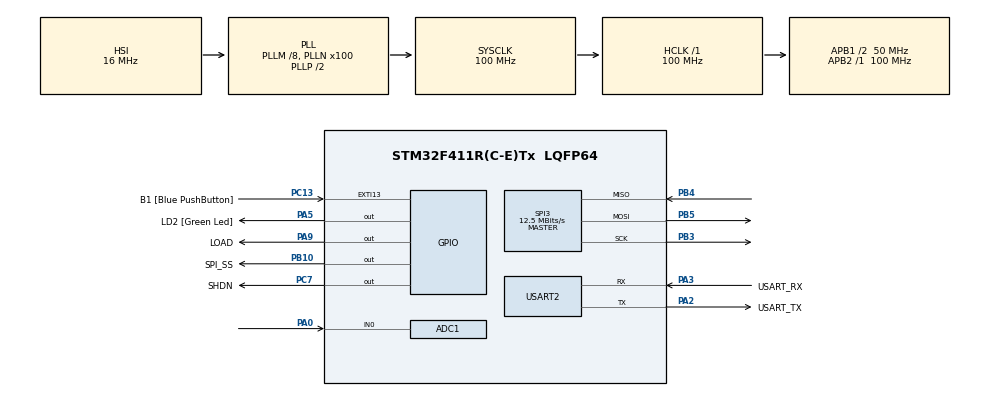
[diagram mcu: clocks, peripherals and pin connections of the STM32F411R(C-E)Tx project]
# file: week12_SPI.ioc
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Mcu.Family=STM32F4
PB10.PinState=GPIO_PIN_SET
RCC.CortexFreq_Value=100000000
SPI3.Direction=SPI_DIRECTION_2LINES
SPI3.VirtualType=VM_MASTER
PA14.GPIO_Label=TCK
RCC.SYSCLKSource=RCC_SYSCLKSOURCE_PLLCLK
ProjectManager.StackSize=0x400
NVIC.ADC_IRQn=true\:0\:0\:false\:false\:true\:true\:true
PH0\ -\ OSC_IN.Signal=RCC_OSC_IN
RCC.HCLKFreq_Value=100000000
RCC.APB2TimFreq_Value=100000000
TIM3.Period=100
Dma.ADC1.0.Direction=DMA_PERIPH_TO_MEMORY
PC7.Signal=GPIO_Output
NVIC.DMA2_Stream0_IRQn=true\:0\:0\:false\:false\:true\:false\:true
Dma.ADC1.0.MemDataAlignment=DMA_MDATAALIGN_HALFWORD
RCC.AHBFreq_Value=100000000
SPI3.DataSize=SPI_DATASIZE_16BIT
ADC1.Channel-0\#ChannelRegularConversion=ADC_CHANNEL_0
NVIC.TIM1_TRG_COM_TIM11_IRQn=true\:0\:0\:false\:false\:true\:true\:true
RCC.HSE_VALUE=8000000
PB3.Mode=Full_Duplex_Master
ADC1.ScanConvMode=ENABLE
PC13-ANTI_TAMP.Signal=GPXTI13
PB4.Mode=Full_Duplex_Master
PC14-OSC32_IN.Mode=LSE-External-Oscillator
PA14.Mode=Serial_Wire
TIM3.Prescaler=99
Dma.ADC1.0.PeriphInc=DMA_PINC_DISABLE
PB5.Mode=Full_Duplex_Master
PC7.PinState=GPIO_PIN_SET
SH.ADCx_IN0.0=ADC1_IN0,IN0
ADC1.SamplingTime-0\#ChannelRegularConversion=ADC_SAMPLETIME_28CYCLES
RCC.FLatency-AdvancedSettings=FLASH_LATENCY_3
Mcu.Package=LQFP64
SPI3.Mode=SPI_MODE_MASTER
USART2.VirtualMode=VM_ASYNC
PA2.GPIO_Label=USART_TX
NVIC.SPI3_IRQn=true\:0\:0\:false\:false\:true\:true\:true
RCC.APB1TimFreq_Value=100000000
Dma.ADC1.0.FIFOMode=DMA_FIFOMODE_DISABLE
Dma.Request0=ADC1
ADC1.EOCSelection=ADC_EOC_SEQ_CONV
VP_TIM3_VS_ClockSourceINT.Mode=Internal
PB4.Signal=SPI3_MISO
PA3.Signal=USART2_RX
PC15-OSC32_OUT.Mode=LSE-External-Oscillator
Dma.ADC1.0.Instance=DMA2_Stream0
ADC1.Rank-0\#ChannelRegularConversion=1
PC13-ANTI_TAMP.GPIO_Label=B1 [Blue PushButton]
PA9.GPIO_Label=LOAD
PH1\ -\ OSC_OUT.Mode=HSE-External-Clock-Source
TIM11.Prescaler=99
RCC.APB1CLKDivider=RCC_HCLK_DIV2
PC14-OSC32_IN.Signal=RCC_OSC32_IN
NVIC.USART2_IRQn=true\:0\:0\:false\:false\:true\:true\:true
PA0-WKUP.Signal=ADCx_IN0
VP_TIM11_VS_ClockSourceINT.Mode=Enable_Timer
PA13.Signal=SYS_JTMS-SWDIO
PA3.Mode=Asynchronous
Dma.ADC1.0.PeriphDataAlignment=DMA_PDATAALIGN_HALFWORD
PH0\ -\ OSC_IN.Mode=HSE-External-Clock-Source
ProjectManager.TargetToolchain=STM32CubeIDE
PB10.GPIO_Label=SPI_SS
Dma.ADC1.0.Mode=DMA_CIRCULAR
Dma.ADC1.0.Priority=DMA_PRIORITY_LOW
PA9.Signal=GPIO_Output
PA9.PinState=GPIO_PIN_SET
PC15-OSC32_OUT.Signal=RCC_OSC32_OUT
PB10.Signal=GPIO_Output
PA5.Signal=GPIO_Output
PH1\ -\ OSC_OUT.Signal=RCC_OSC_OUT
board=NUCLEO-F411RE
RCC.VCOOutputFreq_Value=200000000
RCC.APB2Freq_Value=100000000
SPI3.CalculateBaudRate=12.5 MBits/s
SPI3.BaudRatePrescaler=SPI_BAUDRATEPRESCALER_4
ADC1.DMAContinuousRequests=ENABLE
PA13.Mode=Serial_Wire
Mcu.Name=STM32F411R(C-E)Tx
PA2.Signal=USART2_TX
PA13.GPIO_Label=TMS
ADC1.ExternalTrigConv=ADC_EXTERNALTRIGCONV_T3_TRGO
PC7.GPIO_Label=SHDN
RCC.48MHZClocksFreq_Value=50000000
PB3.Signal=SPI3_SCK
RCC.SYSCLKFreq_VALUE=100000000
PB5.Signal=SPI3_MOSI
ADC1.master=1
PA5.GPIO_Label=LD2 [Green Led]
PC13-ANTI_TAMP.GPIO_ModeDefaultEXTI=GPIO_MODE_IT_FALLING
PA14.Signal=SYS_JTCK-SWCLK
Dma.ADC1.0.MemInc=DMA_MINC_ENABLE
ProjectManager.HeapSize=0x200
RCC.HSI_VALUE=16000000
NVIC.PriorityGroup=NVIC_PRIORITYGROUP_0
ADC1.NbrOfConversionFlag=1
RCC.PLLM=8
RCC.PLLN=100
PA2.Mode=Asynchronous
TIM3.TIM_MasterOutputTrigger=TIM_TRGO_UPDATE
RCC.APB1Freq_Value=50000000
PA3.GPIO_Label=USART_RX

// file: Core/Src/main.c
/* USER CODE BEGIN Header */
/**
 ******************************************************************************
 * @file           : main.c
 * @brief          : Main program body
 ******************************************************************************
 * @attention
 *
 * <h2><center>&copy; Copyright (c) 2021 STMicroelectronics.
 * All rights reserved.</center></h2>
 *
 * This software component is licensed by ST under BSD 3-Clause license,
 * the "License"; You may not use this file except in compliance with the
 * License. You may obtain a copy of the License at:
 *                        opensource.org/licenses/BSD-3-Clause
 *
 ******************************************************************************
 */
/* USER CODE END Header */
#include "main.h"

/* USER CODE BEGIN Includes */
#include <stdio.h>
#include <string.h>
#include "math.h"
/* USER CODE END Includes */

ADC_HandleTypeDef hadc1;
DMA_HandleTypeDef hdma_adc1;

SPI_HandleTypeDef hspi3;

TIM_HandleTypeDef htim3;
TIM_HandleTypeDef htim11;

UART_HandleTypeDef huart2;

/* USER CODE BEGIN PV */
uint16_t ADCin = 0;
uint64_t _micro = 0;
uint64_t timestamp = 0;

char TxDataBuffer[100] =
{ 0 };
char RxDataBuffer[32] =
{ 0 };

uint32_t Period = 1000000;
uint8_t Hz = 10;
uint8_t V_Max = 33;
uint8_t V_Min = 0;
int8_t Slope = 1;
uint8_t Duty_Cycle = 50;

typedef enum
{
	Mode_Menu,
	Mode_Wait,
	Saw_Menu,
	Saw_Wait,
	Sine_Menu,
	Sine_Wait,
	Square_Menu,
	Square_Wait
}Menu_State;
Menu_State State = Mode_Menu;

typedef enum
{
	None,
	Sawtooth,
	Sine,
	Square
}Gen_Mode;
Gen_Mode Mode = None;

uint16_t dataOut = 0;

uint8_t DACConfig = 0b0011;
/* USER CODE END PV */

void SystemClock_Config(void);
static void MX_GPIO_Init(void);
static void MX_DMA_Init(void);
static void MX_USART2_UART_Init(void);
static void MX_ADC1_Init(void);
static void MX_SPI3_Init(void);
static void MX_TIM3_Init(void);
static void MX_TIM11_Init(void);
/* USER CODE BEGIN PFP */
void MCP4922SetOutput(uint8_t Config, uint16_t DACOutput);
uint64_t micros();
uint16_t UARTRecieveIT();
void Menu(int16_t input);
void Function_Gen();

/* USER CODE END PFP */

int main(void)
{

  /* MCU Configuration--------------------------------------------------------*/

  /* Reset of all peripherals, Initializes the Flash interface and the Systick. */
  HAL_Init();

  /* Configure the system clock */
  SystemClock_Config();

  /* Initialize all configured peripherals */
  MX_GPIO_Init();
  MX_DMA_Init();
  MX_USART2_UART_Init();
  MX_ADC1_Init();
  MX_SPI3_Init();
  MX_TIM3_Init();
  MX_TIM11_Init();
  /* USER CODE BEGIN 2 */
	HAL_TIM_Base_Start(&htim3);
	HAL_TIM_Base_Start_IT(&htim11);
	HAL_ADC_Start_DMA(&hadc1, (uint32_t*) &ADCin, 1);

	HAL_GPIO_WritePin(LOAD_GPIO_Port, LOAD_Pin, GPIO_PIN_RESET);
  /* USER CODE END 2 */

  /* Infinite loop */
  /* USER CODE BEGIN WHILE */
	while (1)
	{
		HAL_UART_Receive_IT(&huart2,  (uint8_t*)RxDataBuffer, 32);

		int16_t inputchar = UARTRecieveIT();
		Menu(inputchar);

		if (micros() - timestamp >= Period)
		{
			timestamp = micros();
			Function_Gen();
			if (hspi3.State == HAL_SPI_STATE_READY
					&& HAL_GPIO_ReadPin(SPI_SS_GPIO_Port, SPI_SS_Pin)
							== GPIO_PIN_SET)
			{
				MCP4922SetOutput(DACConfig, dataOut);
			}
		}

    /* USER CODE END WHILE */

	}
}

void SystemClock_Config(void)
{
  RCC_OscInitTypeDef RCC_OscInitStruct = {0};
  RCC_ClkInitTypeDef RCC_ClkInitStruct = {0};

  /** Configure the main internal regulator output voltage
  */
  __HAL_RCC_PWR_CLK_ENABLE();
  __HAL_PWR_VOLTAGESCALING_CONFIG(PWR_REGULATOR_VOLTAGE_SCALE1);
  /** Initializes the RCC Oscillators according to the specified parameters
  * in the RCC_OscInitTypeDef structure.
  */
  RCC_OscInitStruct.OscillatorType = RCC_OSCILLATORTYPE_HSI;
  RCC_OscInitStruct.HSIState = RCC_HSI_ON;
  RCC_OscInitStruct.HSICalibrationValue = RCC_HSICALIBRATION_DEFAULT;
  RCC_OscInitStruct.PLL.PLLState = RCC_PLL_ON;
  RCC_OscInitStruct.PLL.PLLSource = RCC_PLLSOURCE_HSI;
  RCC_OscInitStruct.PLL.PLLM = 8;
  RCC_OscInitStruct.PLL.PLLN = 100;
  RCC_OscInitStruct.PLL.PLLP = RCC_PLLP_DIV2;
  RCC_OscInitStruct.PLL.PLLQ = 4;
  if (HAL_RCC_OscConfig(&RCC_OscInitStruct) != HAL_OK)
  {
    Error_Handler();
  }
  /** Initializes the CPU, AHB and APB buses clocks
  */
  RCC_ClkInitStruct.ClockType = RCC_CLOCKTYPE_HCLK|RCC_CLOCKTYPE_SYSCLK
                              |RCC_CLOCKTYPE_PCLK1|RCC_CLOCKTYPE_PCLK2;
  RCC_ClkInitStruct.SYSCLKSource = RCC_SYSCLKSOURCE_PLLCLK;
  RCC_ClkInitStruct.AHBCLKDivider = RCC_SYSCLK_DIV1;
  RCC_ClkInitStruct.APB1CLKDivider = RCC_HCLK_DIV2;
  RCC_ClkInitStruct.APB2CLKDivider = RCC_HCLK_DIV1;

  if (HAL_RCC_ClockConfig(&RCC_ClkInitStruct, FLASH_LATENCY_3) != HAL_OK)
  {
    Error_Handler();
  }
}

static void MX_ADC1_Init(void)
{

  ADC_ChannelConfTypeDef sConfig = {0};

  /** Configure the global features of the ADC (Clock, Resolution, Data Alignment and number of conversion)
  */
  hadc1.Instance = ADC1;
  hadc1.Init.ClockPrescaler = ADC_CLOCK_SYNC_PCLK_DIV4;
  hadc1.Init.Resolution = ADC_RESOLUTION_12B;
  hadc1.Init.ScanConvMode = ENABLE;
  hadc1.Init.ContinuousConvMode = DISABLE;
  hadc1.Init.DiscontinuousConvMode = DISABLE;
  hadc1.Init.ExternalTrigConvEdge = ADC_EXTERNALTRIGCONVEDGE_RISING;
  hadc1.Init.ExternalTrigConv = ADC_EXTERNALTRIGCONV_T3_TRGO;
  hadc1.Init.DataAlign = ADC_DATAALIGN_RIGHT;
  hadc1.Init.NbrOfConversion = 1;
  hadc1.Init.DMAContinuousRequests = ENABLE;
  hadc1.Init.EOCSelection = ADC_EOC_SEQ_CONV;
  if (HAL_ADC_Init(&hadc1) != HAL_OK)
  {
    Error_Handler();
  }
  /** Configure for the selected ADC regular channel its corresponding rank in the sequencer and its sample time.
  */
  sConfig.Channel = ADC_CHANNEL_0;
  sConfig.Rank = 1;
  sConfig.SamplingTime = ADC_SAMPLETIME_28CYCLES;
  if (HAL_ADC_ConfigChannel(&hadc1, &sConfig) != HAL_OK)
  {
    Error_Handler();
  }

}

static void MX_SPI3_Init(void)
{

  /* SPI3 parameter configuration*/
  hspi3.Instance = SPI3;
  hspi3.Init.Mode = SPI_MODE_MASTER;
  hspi3.Init.Direction = SPI_DIRECTION_2LINES;
  hspi3.Init.DataSize = SPI_DATASIZE_16BIT;
  hspi3.Init.CLKPolarity = SPI_POLARITY_LOW;
  hspi3.Init.CLKPhase = SPI_PHASE_1EDGE;
  hspi3.Init.NSS = SPI_NSS_SOFT;
  hspi3.Init.BaudRatePrescaler = SPI_BAUDRATEPRESCALER_4;
  hspi3.Init.FirstBit = SPI_FIRSTBIT_MSB;
  hspi3.Init.TIMode = SPI_TIMODE_DISABLE;
  hspi3.Init.CRCCalculation = SPI_CRCCALCULATION_DISABLE;
  hspi3.Init.CRCPolynomial = 10;
  if (HAL_SPI_Init(&hspi3) != HAL_OK)
  {
    Error_Handler();
  }

}

static void MX_TIM3_Init(void)
{

  TIM_ClockConfigTypeDef sClockSourceConfig = {0};
  TIM_MasterConfigTypeDef sMasterConfig = {0};

  htim3.Instance = TIM3;
  htim3.Init.Prescaler = 99;
  htim3.Init.CounterMode = TIM_COUNTERMODE_UP;
  htim3.Init.Period = 100;
  htim3.Init.ClockDivision = TIM_CLOCKDIVISION_DIV1;
  htim3.Init.AutoReloadPreload = TIM_AUTORELOAD_PRELOAD_DISABLE;
  if (HAL_TIM_Base_Init(&htim3) != HAL_OK)
  {
    Error_Handler();
  }
  sClockSourceConfig.ClockSource = TIM_CLOCKSOURCE_INTERNAL;
  if (HAL_TIM_ConfigClockSource(&htim3, &sClockSourceConfig) != HAL_OK)
  {
    Error_Handler();
  }
  sMasterConfig.MasterOutputTrigger = TIM_TRGO_UPDATE;
  sMasterConfig.MasterSlaveMode = TIM_MASTERSLAVEMODE_DISABLE;
  if (HAL_TIMEx_MasterConfigSynchronization(&htim3, &sMasterConfig) != HAL_OK)
  {
    Error_Handler();
  }

}

static void MX_TIM11_Init(void)
{

  htim11.Instance = TIM11;
  htim11.Init.Prescaler = 99;
  htim11.Init.CounterMode = TIM_COUNTERMODE_UP;
  htim11.Init.Period = 65535;
  htim11.Init.ClockDivision = TIM_CLOCKDIVISION_DIV1;
  htim11.Init.AutoReloadPreload = TIM_AUTORELOAD_PRELOAD_DISABLE;
  if (HAL_TIM_Base_Init(&htim11) != HAL_OK)
  {
    Error_Handler();
  }

}

static void MX_USART2_UART_Init(void)
{

  huart2.Instance = USART2;
  huart2.Init.BaudRate = 115200;
  huart2.Init.WordLength = UART_WORDLENGTH_8B;
  huart2.Init.StopBits = UART_STOPBITS_1;
  huart2.Init.Parity = UART_PARITY_NONE;
  huart2.Init.Mode = UART_MODE_TX_RX;
  huart2.Init.HwFlowCtl = UART_HWCONTROL_NONE;
  huart2.Init.OverSampling = UART_OVERSAMPLING_16;
  if (HAL_UART_Init(&huart2) != HAL_OK)
  {
    Error_Handler();
  }

}

static void MX_DMA_Init(void)
{

  /* DMA controller clock enable */
  __HAL_RCC_DMA2_CLK_ENABLE();

  /* DMA interrupt init */
  /* DMA2_Stream0_IRQn interrupt configuration */
  HAL_NVIC_SetPriority(DMA2_Stream0_IRQn, 0, 0);
  HAL_NVIC_EnableIRQ(DMA2_Stream0_IRQn);

}

static void MX_GPIO_Init(void)
{
  GPIO_InitTypeDef GPIO_InitStruct = {0};

  /* GPIO Ports Clock Enable */
  __HAL_RCC_GPIOC_CLK_ENABLE();
  __HAL_RCC_GPIOH_CLK_ENABLE();
  __HAL_RCC_GPIOA_CLK_ENABLE();
  __HAL_RCC_GPIOB_CLK_ENABLE();

  /*Configure GPIO pin Output Level */
  HAL_GPIO_WritePin(LD2_GPIO_Port, LD2_Pin, GPIO_PIN_RESET);

  /*Configure GPIO pin Output Level */
  HAL_GPIO_WritePin(SPI_SS_GPIO_Port, SPI_SS_Pin, GPIO_PIN_SET);

  /*Configure GPIO pin Output Level */
  HAL_GPIO_WritePin(SHDN_GPIO_Port, SHDN_Pin, GPIO_PIN_SET);

  /*Configure GPIO pin Output Level */
  HAL_GPIO_WritePin(LOAD_GPIO_Port, LOAD_Pin, GPIO_PIN_SET);

  /*Configure GPIO pin : B1_Pin */
  GPIO_InitStruct.Pin = B1_Pin;
  GPIO_InitStruct.Mode = GPIO_MODE_IT_FALLING;
  GPIO_InitStruct.Pull = GPIO_NOPULL;
  HAL_GPIO_Init(B1_GPIO_Port, &GPIO_InitStruct);

  /*Configure GPIO pins : LD2_Pin LOAD_Pin */
  GPIO_InitStruct.Pin = LD2_Pin|LOAD_Pin;
  GPIO_InitStruct.Mode = GPIO_MODE_OUTPUT_PP;
  GPIO_InitStruct.Pull = GPIO_NOPULL;
  GPIO_InitStruct.Speed = GPIO_SPEED_FREQ_LOW;
  HAL_GPIO_Init(GPIOA, &GPIO_InitStruct);

  /*Configure GPIO pin : SPI_SS_Pin */
  GPIO_InitStruct.Pin = SPI_SS_Pin;
  GPIO_InitStruct.Mode = GPIO_MODE_OUTPUT_PP;
  GPIO_InitStruct.Pull = GPIO_NOPULL;
  GPIO_InitStruct.Speed = GPIO_SPEED_FREQ_LOW;
  HAL_GPIO_Init(SPI_SS_GPIO_Port, &GPIO_InitStruct);

  /*Configure GPIO pin : SHDN_Pin */
  GPIO_InitStruct.Pin = SHDN_Pin;
  GPIO_InitStruct.Mode = GPIO_MODE_OUTPUT_PP;
  GPIO_InitStruct.Pull = GPIO_NOPULL;
  GPIO_InitStruct.Speed = GPIO_SPEED_FREQ_LOW;
  HAL_GPIO_Init(SHDN_GPIO_Port, &GPIO_InitStruct);

}

/* USER CODE BEGIN 4 */
uint16_t UARTRecieveIT()
{
	static uint32_t dataPos =0;
	int16_t data=-1;
	if(huart2.RxXferSize - huart2.RxXferCount!=dataPos)
	{
		data=RxDataBuffer[dataPos];
		dataPos= (dataPos+1)%huart2.RxXferSize;
	}
	return data;
}

void Menu(int16_t input)
{
	if ((input <= 90) && (input >= 65))
	{
		input += 32;
	}

	switch (State)
	{
	case Mode_Menu:
		sprintf(TxDataBuffer, "--------------\r\n");
		HAL_UART_Transmit(&huart2, (uint8_t*)TxDataBuffer, strlen(TxDataBuffer), 100);
		sprintf(TxDataBuffer, "Mode Select\r\n");
		HAL_UART_Transmit(&huart2, (uint8_t*)TxDataBuffer, strlen(TxDataBuffer), 100);
		sprintf(TxDataBuffer, "  1 : Sawtooth\r\n");
		HAL_UART_Transmit(&huart2, (uint8_t*)TxDataBuffer, strlen(TxDataBuffer), 100);
		sprintf(TxDataBuffer, "  2 : Sine\r\n");
		HAL_UART_Transmit(&huart2, (uint8_t*)TxDataBuffer, strlen(TxDataBuffer), 100);
		sprintf(TxDataBuffer, "  3 : Square\r\n");
		HAL_UART_Transmit(&huart2, (uint8_t*)TxDataBuffer, strlen(TxDataBuffer), 100);
		sprintf(TxDataBuffer, "--------------\r\n");
		HAL_UART_Transmit(&huart2, (uint8_t*)TxDataBuffer, strlen(TxDataBuffer), 100);
		State = Mode_Wait;
		break;
	case Mode_Wait:
		switch (input)
		{
		case -1:
			break;
		case 49:
			State = Saw_Menu;
			Mode = Sawtooth;
			break;
		case 50:
			State = Sine_Menu;
			Mode = Sine;
			break;
		case 51:
			State = Square_Menu;
			Mode = Square;
			break;
		default:
			sprintf(TxDataBuffer, "Wrong Input\r\n");
			HAL_UART_Transmit(&huart2, (uint8_t*)TxDataBuffer, strlen(TxDataBuffer), 1000);
			break;
		}
		break;
	case Saw_Menu:
		sprintf(TxDataBuffer, "--------------\r\n");
		HAL_UART_Transmit(&huart2, (uint8_t*)TxDataBuffer, strlen(TxDataBuffer), 100);
		sprintf(TxDataBuffer, "Sawtooth\r\n");
		HAL_UART_Transmit(&huart2, (uint8_t*)TxDataBuffer, strlen(TxDataBuffer), 100);
		sprintf(TxDataBuffer, "  1 : Frequency +\r\n");
		HAL_UART_Transmit(&huart2, (uint8_t*)TxDataBuffer, strlen(TxDataBuffer), 100);
		sprintf(TxDataBuffer, "  2 : Frequency -\r\n");
		HAL_UART_Transmit(&huart2, (uint8_t*)TxDataBuffer, strlen(TxDataBuffer), 100);
		sprintf(TxDataBuffer, "  3 : V_Max +\r\n");
		HAL_UART_Transmit(&huart2, (uint8_t*)TxDataBuffer, strlen(TxDataBuffer), 100);
		sprintf(TxDataBuffer, "  4 : V_Max -\r\n");
		HAL_UART_Transmit(&huart2, (uint8_t*)TxDataBuffer, strlen(TxDataBuffer), 100);
		sprintf(TxDataBuffer, "  5 : V_Min +\r\n");
		HAL_UART_Transmit(&huart2, (uint8_t*)TxDataBuffer, strlen(TxDataBuffer), 100);
		sprintf(TxDataBuffer, "  6 : V_Min -\r\n");
		HAL_UART_Transmit(&huart2, (uint8_t*)TxDataBuffer, strlen(TxDataBuffer), 100);
		sprintf(TxDataBuffer, "  7 : Slope Up/Down\r\n");
		HAL_UART_Transmit(&huart2, (uint8_t*)TxDataBuffer, strlen(TxDataBuffer), 100);
		sprintf(TxDataBuffer, "  9 : back\r\n");
		HAL_UART_Transmit(&huart2, (uint8_t*)TxDataBuffer, strlen(TxDataBuffer), 100);
		sprintf(TxDataBuffer, "--------------\r\n");
		HAL_UART_Transmit(&huart2, (uint8_t*)TxDataBuffer, strlen(TxDataBuffer), 100);
		State = Saw_Wait;
		break;
	case Saw_Wait:
		switch (input)
		{
		case -1:
			break;
		case 49:  //1 F+
			if (Hz < 100)
			{
				Hz += 1;
				sprintf(TxDataBuffer, "Frequency = %d.%d Hz\r\n", Hz/10, Hz%10);
			}
			else if (Hz == 100)
			{
				sprintf(TxDataBuffer, "Frequency upper limit is 10 Hz\r\n");
			}

			HAL_UART_Transmit(&huart2, (uint8_t*)TxDataBuffer, strlen(TxDataBuffer), 100);
			break;
		case 50:  //2 F-
			if (Hz > 0)
			{
				Hz -= 1;
				sprintf(TxDataBuffer, "Frequency = %d.%d Hz\r\n", Hz/10, Hz%10);
			}
			else if (Hz == 0)
			{
				sprintf(TxDataBuffer, "Frequency lower limit is 0 Hz\r\n");
			}

			HAL_UART_Transmit(&huart2, (uint8_t*)TxDataBuffer, strlen(TxDataBuffer), 100);
			break;
		case 51:  //3 V_Max+
			if (V_Max < 33)
			{
				V_Max += 1;
				sprintf(TxDataBuffer, "V_Max = %d.%d V\r\n", V_Max/10, V_Max%10);
			}
			else if (V_Max == 33)
			{
				sprintf(TxDataBuffer, "V_Max upper limit is 3.3 V\r\n");
			}

			HAL_UART_Transmit(&huart2, (uint8_t*)TxDataBuffer, strlen(TxDataBuffer), 100);
			break;
		case 52:  //4 V_Max-
			if (V_Max == V_Min+1)
			{
				sprintf(TxDataBuffer, "V_Max must be more than V_Min\r\n");
			}
			else if (V_Max > V_Min+1)
			{
				V_Max -= 1;
				sprintf(TxDataBuffer, "V_Max = %d.%d V\r\n", V_Max/10, V_Max%10);
			}

			HAL_UART_Transmit(&huart2, (uint8_t*)TxDataBuffer, strlen(TxDataBuffer), 100);
			break;
		case 53:  //5 V_Min+
			if (V_Min == V_Max-1)
			{
				sprintf(TxDataBuffer, "V_Min must be less than to V_Max\r\n");
			}
			else if (V_Min < V_Max-1)
			{
				V_Min += 1;
				sprintf(TxDataBuffer, "V_Min = %d.%d V\r\n", V_Min/10, V_Min%10);
			}

			HAL_UART_Transmit(&huart2, (uint8_t*)TxDataBuffer, strlen(TxDataBuffer), 100);
			break;
		case 54:  //6 V_Min-
			if (V_Min > 0)
			{
				V_Min -= 1;
				sprintf(TxDataBuffer, "V_Min = %d.%d V\r\n", V_Min/10, V_Min%10);
			}
			else if (V_Min == 0)
			{
				sprintf(TxDataBuffer, "V_Min lower limit is 0 V\r\n");
			}

			HAL_UART_Transmit(&huart2, (uint8_t*)TxDataBuffer, strlen(TxDataBuffer), 100);
			break;
		case 55:  //7 S
			Slope = -Slope;
			sprintf(TxDataBuffer, "Slope = %d \r\n", Slope);
			HAL_UART_Transmit(&huart2, (uint8_t*)TxDataBuffer, strlen(TxDataBuffer), 100);
			break;
		case 57:  //9 back
			State = Mode_Menu;
			Mode = None;
			break;
		default:
			sprintf(TxDataBuffer, "Wrong Input\r\n");
			HAL_UART_Transmit(&huart2, (uint8_t*)TxDataBuffer, strlen(TxDataBuffer), 1000);
			break;
		}
		break;
	case Sine_Menu:
		sprintf(TxDataBuffer, "--------------\r\n");
		HAL_UART_Transmit(&huart2, (uint8_t*)TxDataBuffer, strlen(TxDataBuffer), 100);
		sprintf(TxDataBuffer, "Sine\r\n");
		HAL_UART_Transmit(&huart2, (uint8_t*)TxDataBuffer, strlen(TxDataBuffer), 100);
		sprintf(TxDataBuffer, "  1 : Frequency +\r\n");
		HAL_UART_Transmit(&huart2, (uint8_t*)TxDataBuffer, strlen(TxDataBuffer), 100);
		sprintf(TxDataBuffer, "  2 : Frequency -\r\n");
		HAL_UART_Transmit(&huart2, (uint8_t*)TxDataBuffer, strlen(TxDataBuffer), 100);
		sprintf(TxDataBuffer, "  3 : V_Max +\r\n");
		HAL_UART_Transmit(&huart2, (uint8_t*)TxDataBuffer, strlen(TxDataBuffer), 100);
		sprintf(TxDataBuffer, "  4 : V_Max -\r\n");
		HAL_UART_Transmit(&huart2, (uint8_t*)TxDataBuffer, strlen(TxDataBuffer), 100);
		sprintf(TxDataBuffer, "  5 : V_Min +\r\n");
		HAL_UART_Transmit(&huart2, (uint8_t*)TxDataBuffer, strlen(TxDataBuffer), 100);
		sprintf(TxDataBuffer, "  6 : V_Min -\r\n");
		HAL_UART_Transmit(&huart2, (uint8_t*)TxDataBuffer, strlen(TxDataBuffer), 100);
		sprintf(TxDataBuffer, "  9 : back\r\n");
		HAL_UART_Transmit(&huart2, (uint8_t*)TxDataBuffer, strlen(TxDataBuffer), 100);
		sprintf(TxDataBuffer, "--------------\r\n");
		HAL_UART_Transmit(&huart2, (uint8_t*)TxDataBuffer, strlen(TxDataBuffer), 100);
		State = Sine_Wait;
		break;
	case Sine_Wait:
		switch (input)
		{
		case -1:
			break;
		case 49:  //1 F+
			if (Hz < 100)
			{
				Hz += 1;
				sprintf(TxDataBuffer, "Frequency = %d.%d Hz\r\n", Hz/10, Hz%10);
			}
			else if (Hz == 100)
			{
				sprintf(TxDataBuffer, "Frequency upper limit is 10 Hz\r\n");
			}

			HAL_UART_Transmit(&huart2, (uint8_t*)TxDataBuffer, strlen(TxDataBuffer), 100);
			break;
		case 50:  //2 F-
			if (Hz > 0)
			{
				Hz -= 1;
				sprintf(TxDataBuffer, "Frequency = %d.%d Hz\r\n", Hz/10, Hz%10);
			}
			else if (Hz == 0)
			{
				sprintf(TxDataBuffer, "Frequency lower limit is 0 Hz\r\n");
			}

			HAL_UART_Transmit(&huart2, (uint8_t*)TxDataBuffer, strlen(TxDataBuffer), 100);
			break;
		case 51:  //3 V_Max+
			if (V_Max < 33)
			{
				V_Max += 1;
				sprintf(TxDataBuffer, "V_Max = %d.%d V\r\n",V_Max/10, V_Max%10);
			}
			else if (V_Max == 33)
			{
				sprintf(TxDataBuffer, "V_Max upper limit is 3.3 V\r\n");
			}

			HAL_UART_Transmit(&huart2, (uint8_t*)TxDataBuffer, strlen(TxDataBuffer), 100);
			break;
		case 52:  //4 V_Max-
			if (V_Max == V_Min+1)
			{
				sprintf(TxDataBuffer, "V_Max must be more than V_Min\r\n");
			}
			else if (V_Max > V_Min+1)
			{
				V_Max -= 1;
				sprintf(TxDataBuffer, "V_Max = %d.%d V\r\n", V_Max/10, V_Max%10);
			}

			HAL_UART_Transmit(&huart2, (uint8_t*)TxDataBuffer, strlen(TxDataBuffer), 100);
			break;
		case 53:  //5 V_Min+
			if (V_Min == V_Max-1)
			{
				sprintf(TxDataBuffer, "V_Min must be less than to V_Max\r\n");
			}
			else if (V_Min < V_Max-1)
			{
				V_Min += 1;
				sprintf(TxDataBuffer, "V_Min = %d.%d V\r\n", V_Min/10, V_Min%10);
			}

			HAL_UART_Transmit(&huart2, (uint8_t*)TxDataBuffer, strlen(TxDataBuffer), 100);
			break;
		case 54:  //6 V_Min-
			if (V_Min > 0)
			{
				V_Min -= 1;
				sprintf(TxDataBuffer, "V_Min = %d.%d V\r\n", V_Min/10, V_Min%10);
			}
			else if (V_Min == 0)
			{
				sprintf(TxDataBuffer, "V_Min lower limit is 0 V\r\n");
			}

			HAL_UART_Transmit(&huart2, (uint8_t*)TxDataBuffer, strlen(TxDataBuffer), 100);
			break;
		case 57:  //back
			State = Mode_Menu;
			Mode = None;
			break;
		default:
			sprintf(TxDataBuffer, "Wrong Input\r\n");
			HAL_UART_Transmit(&huart2, (uint8_t*)TxDataBuffer, strlen(TxDataBuffer), 1000);
			break;
		}
		break;
	case Square_Menu:
		sprintf(TxDataBuffer, "--------------\r\n");
		HAL_UART_Transmit(&huart2, (uint8_t*)TxDataBuffer, strlen(TxDataBuffer), 100);
		sprintf(TxDataBuffer, "Square\r\n");
		HAL_UART_Transmit(&huart2, (uint8_t*)TxDataBuffer, strlen(TxDataBuffer), 100);
		sprintf(TxDataBuffer, "  1 : Frequency +\r\n");
		HAL_UART_Transmit(&huart2, (uint8_t*)TxDataBuffer, strlen(TxDataBuffer), 100);
		sprintf(TxDataBuffer, "  2 : Frequency -\r\n");
		HAL_UART_Transmit(&huart2, (uint8_t*)TxDataBuffer, strlen(TxDataBuffer), 100);
		sprintf(TxDataBuffer, "  3 : V_Max +\r\n");
		HAL_UART_Transmit(&huart2, (uint8_t*)TxDataBuffer, strlen(TxDataBuffer), 100);
		sprintf(TxDataBuffer, "  4 : V_Max -\r\n");
		HAL_UART_Transmit(&huart2, (uint8_t*)TxDataBuffer, strlen(TxDataBuffer), 100);
		sprintf(TxDataBuffer, "  5 : V_Min +\r\n");
		HAL_UART_Transmit(&huart2, (uint8_t*)TxDataBuffer, strlen(TxDataBuffer), 100);
		sprintf(TxDataBuffer, "  6 : V_Min -\r\n");
		HAL_UART_Transmit(&huart2, (uint8_t*)TxDataBuffer, strlen(TxDataBuffer), 100);
		sprintf(TxDataBuffer, "  7 : Duty Cycle +\r\n");
		HAL_UART_Transmit(&huart2, (uint8_t*)TxDataBuffer, strlen(TxDataBuffer), 100);
		sprintf(TxDataBuffer, "  8 : Duty Cycle -\r\n");
		HAL_UART_Transmit(&huart2, (uint8_t*)TxDataBuffer, strlen(TxDataBuffer), 100);
		sprintf(TxDataBuffer, "  9 : back\r\n");
		HAL_UART_Transmit(&huart2, (uint8_t*)TxDataBuffer, strlen(TxDataBuffer), 100);
		sprintf(TxDataBuffer, "--------------\r\n");
		HAL_UART_Transmit(&huart2, (uint8_t*)TxDataBuffer, strlen(TxDataBuffer), 100);
		State = Square_Wait;
		break;
	case Square_Wait:
		switch (input)
		{
		case -1:
			break;
		case 49:  //1 F+
			if (Hz < 100)
			{
				Hz += 1;
				sprintf(TxDataBuffer, "Frequency = %d.%d Hz\r\n", Hz/10, Hz%10);
			}
			else if (Hz == 100)
			{
				sprintf(TxDataBuffer, "Frequency upper limit is 10 Hz\r\n");
			}

			HAL_UART_Transmit(&huart2, (uint8_t*)TxDataBuffer, strlen(TxDataBuffer), 100);
			break;
		case 50:  //2 F-
			if (Hz > 0)
			{
				Hz -= 1;
				sprintf(TxDataBuffer, "Frequency = %d.%d Hz\r\n", Hz/10, Hz%10);
			}
			else if (Hz == 0)
			{
				sprintf(TxDataBuffer, "Frequency lower limit is 0 Hz\r\n");
			}

			HAL_UART_Transmit(&huart2, (uint8_t*)TxDataBuffer, strlen(TxDataBuffer), 100);
			break;
		case 51:  //3 V_Max+
			if (V_Max < 33)
			{
				V_Max += 1;
				sprintf(TxDataBuffer, "V_Max = %d.%d V\r\n", V_Max/10, V_Max%10);
			}
			else if (V_Max == 33)
			{
				sprintf(TxDataBuffer, "V_Max upper limit is 3.3 V\r\n");
			}

			HAL_UART_Transmit(&huart2, (uint8_t*)TxDataBuffer, strlen(TxDataBuffer), 100);
			break;
		case 52:  //4 V_Max-
			if (V_Max == V_Min+1)
			{
				sprintf(TxDataBuffer, "V_Max must be more than V_Min\r\n");
			}
			else if (V_Max > V_Min+1)
			{
				V_Max -= 1;
				sprintf(TxDataBuffer, "V_Max = %d.%d V\r\n", V_Max/10, V_Max%10);
			}

			HAL_UART_Transmit(&huart2, (uint8_t*)TxDataBuffer, strlen(TxDataBuffer), 100);
			break;
		case 53:  //5 V_Min+
			if (V_Min == V_Max-1)
			{
				sprintf(TxDataBuffer, "V_Min must be less than to V_Max\r\n");
			}
			else if (V_Min < V_Max-1)
			{
				V_Min += 1;
				sprintf(TxDataBuffer, "V_Min = %d.%d V\r\n",V_Min/10, V_Min%10);
			}

			HAL_UART_Transmit(&huart2, (uint8_t*)TxDataBuffer, strlen(TxDataBuffer), 100);
			break;
		case 54:  //6 V_Min-
			if (V_Min > 0)
			{
				V_Min -= 1;
				sprintf(TxDataBuffer, "V_Min = %d.%d V\r\n",V_Min/10, V_Min%10);
			}
			else if (V_Min == 0)
			{
				sprintf(TxDataBuffer, "V_Min lower limit is 0 V\r\n");
			}

			HAL_UART_Transmit(&huart2, (uint8_t*)TxDataBuffer, strlen(TxDataBuffer), 100);
			break;
		case 55:  //7 D+
			if ( Duty_Cycle < 100)
			{
				Duty_Cycle += 1;
				sprintf(TxDataBuffer, "Duty Cycle = %d \r\n", Duty_Cycle);
			}
			else if (Duty_Cycle == 100)
			{
				sprintf(TxDataBuffer, "Duty cycle upper limit is 100\r\n");
			}

			HAL_UART_Transmit(&huart2, (uint8_t*)TxDataBuffer, strlen(TxDataBuffer), 100);
			break;
		case 56:  //8 D-
			if (Duty_Cycle > 0)
			{
				Duty_Cycle -= 1;
				sprintf(TxDataBuffer, "Duty Cycle = %d \r\n", Duty_Cycle);
			}
			else if (V_Min == 0)
			{
				sprintf(TxDataBuffer, "Duty Cycle lower limit is 0\r\n");
			}

			HAL_UART_Transmit(&huart2, (uint8_t*)TxDataBuffer, strlen(TxDataBuffer), 100);
			break;
		case 57:  //back
			State = Mode_Menu;
			Mode = None;
			break;
		default:
			sprintf(TxDataBuffer, "Wrong Input\r\n");
			HAL_UART_Transmit(&huart2, (uint8_t*)TxDataBuffer, strlen(TxDataBuffer), 1000);
			break;
		}
		break;
	}
}

void Function_Gen()
{
	static uint16_t rad = 0;
	static uint8_t V_Out = 0;
	if (Hz > 0)
	{
		switch (Mode)
		{
		case None:
			dataOut = 0;
			break;
		case Sawtooth:
			Period = 1000000/(Hz*(V_Max-V_Min)*4096/330);
			if (Slope == 1)
			{
				if (dataOut >= (V_Max*4096/33))
				{
					dataOut = V_Min*4096/33;
				}
				dataOut += 1;
			}
			else if (Slope == -1)
			{
				if (dataOut <= (V_Min*4096/33))
				{
					dataOut = V_Max*4096/33;
				}
				dataOut -= 1;
			}
			break;
		case Sine:
			Period = 1000000/(628*Hz/10);
			dataOut = (sin((float)rad/100)*((V_Max-V_Min)*4096/66)) + ((V_Max + V_Min)*4096/66);
			rad+=1;
			rad%=628;
			break;
		case Square:
			Period = 1000000/(100*Hz/10);
			V_Out += 1;
			if (V_Out <= Duty_Cycle)
			{
				dataOut = (V_Max*4096/33) *99/100;
			}
			else if (V_Out > Duty_Cycle)
			{
				dataOut = (V_Min*4096/33) *99/100;
			}

			V_Out%=100;
			break;
		}
	}
	else if (Hz == 0)
	{
		dataOut = V_Min*4096/33;
	}

}

void MCP4922SetOutput(uint8_t Config, uint16_t DACOutput)
{
	uint32_t OutputPacket = (DACOutput & 0x0fff) | ((Config & 0xf) << 12);
	HAL_GPIO_WritePin(SPI_SS_GPIO_Port, SPI_SS_Pin, GPIO_PIN_RESET);
	HAL_SPI_Transmit_IT(&hspi3, &OutputPacket, 1);
}

void HAL_SPI_TxCpltCallback(SPI_HandleTypeDef *hspi)
{
	if (hspi == &hspi3)
	{
		HAL_GPIO_WritePin(SPI_SS_GPIO_Port, SPI_SS_Pin, GPIO_PIN_SET);
	}
}

void HAL_TIM_PeriodElapsedCallback(TIM_HandleTypeDef *htim)
{
	if (htim == &htim11)
	{
		_micro += 65535;
	}
}

uint64_t micros()
{
	return htim11.Instance->CNT + _micro;
}
/* USER CODE END 4 */

void Error_Handler(void)
{
	__disable_irq();
	while (1)
	{
	}
}

/************************ (C) COPYRIGHT STMicroelectronics *****END OF FILE****/
